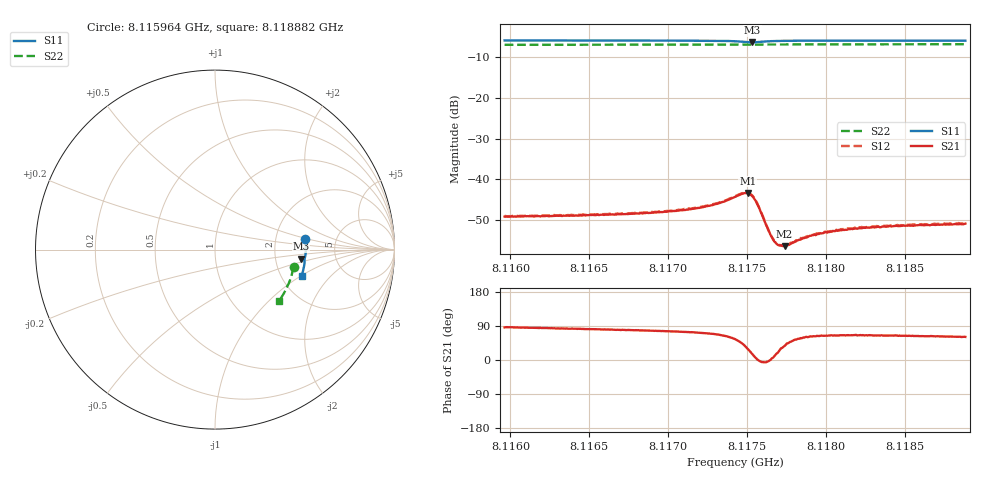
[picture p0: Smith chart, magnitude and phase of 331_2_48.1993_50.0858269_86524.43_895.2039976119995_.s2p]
#  HZ  S  RI  R  50.00
! Rohde & Schwarz Vector Network Analyzer
! Rohde-Schwarz,ZNB20-2Port,1311601062101988,3.16
! Created: UTC 3/20/2024, 11:50:53 AM
! freq[Hz]  re:S11  im:S11  re:S21  im:S21  re:S12  im:S12  re:S22  im:S22
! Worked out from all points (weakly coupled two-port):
!   401 points, 8.115964 GHz to 8.118882 GHz, reference 50 ohm
!   highest |S21| = -43.34 dB at 8.117503 GHz (marker M1); lowest = -56.4 dB at 8.117736 GHz (marker M2)
!   lowest |S11| = -6.3 dB at 8.117532 GHz (marker M3), VSWR 2.86, Z = 140 - j18.5 ohm
!   |S11| at or under -10 dB: nowhere
!   |S22| runs from -7.0 to -6.8 dB; largest |S21 - S12| = 0.00019
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8.1159636e9  0.5038 0.0609  0.000247 0.00348  0.00024 0.00357  0.4376 -0.0989
8.1164524e9  0.5061 0.0241  0.000506 0.00356  0.000555 0.0036  0.43 -0.1319
8.1169412e9  0.5057 -0.0133  0.000877 0.00383  0.00095 0.00394  0.42 -0.1644
8.117109e9  0.5044 -0.0271  0.00116 0.00405  0.00122 0.00413  0.416 -0.1753
8.1172403e9  0.5024 -0.0385  0.00155 0.0044  0.00165 0.00446  0.4127 -0.184
8.1173279e9  0.4999 -0.0468  0.00209 0.0047  0.00216 0.00478  0.4101 -0.1898
8.1174227e9  0.4933 -0.056  0.00348 0.005  0.00362 0.00505  0.4075 -0.1958
8.1174738e9  0.4857 -0.0583  0.005 0.00445  0.00512 0.00446  0.4056 -0.199
8.117503e9  0.4806 -0.056  0.00591 0.00338  0.00602 0.00336  0.4046 -0.2006
8.1175322e9  0.4788 -0.0506  0.006 0.00169  0.00614 0.00164  0.4039 -0.2021
8.1175468e9  0.4797 -0.0477  0.00566 0.000856  0.00576 0.000833  0.4036 -0.2028
8.1175687e9  0.483 -0.0449  0.00478 8.77e-07  0.00483 -4.77e-05  0.4032 -0.2041
8.1176343e9  0.4935 -0.0473  0.00236 -0.000139  0.0024 -0.000141  0.4016 -0.2082
8.1176635e9  0.4959 -0.0507  0.00182 0.000192  0.00186 0.000206  0.4009 -0.2103
8.1176927e9  0.4974 -0.054  0.00149 0.000512  0.00153 0.000537  0.4001 -0.2122
8.1177146e9  0.4981 -0.0565  0.00133 0.000797  0.00138 0.000722  0.3994 -0.2135
8.1177364e9  0.4986 -0.059  0.0012 0.000922  0.00125 0.000983  0.3988 -0.2149
8.117824e9  0.4991 -0.0677  0.000996 0.0015  0.00106 0.00148  0.3961 -0.2206
8.1179115e9  0.4987 -0.0756  0.00097 0.00182  0.000974 0.00184  0.3934 -0.2261
8.1181085e9  0.4964 -0.0916  0.001 0.00218  0.00107 0.00222  0.3867 -0.2382
8.1184004e9  0.4918 -0.1139  0.00116 0.00241  0.00117 0.00241  0.3763 -0.256
8.1188819e9  0.4819 -0.1487  0.00139 0.0025  0.00141 0.00252  0.3574 -0.284
